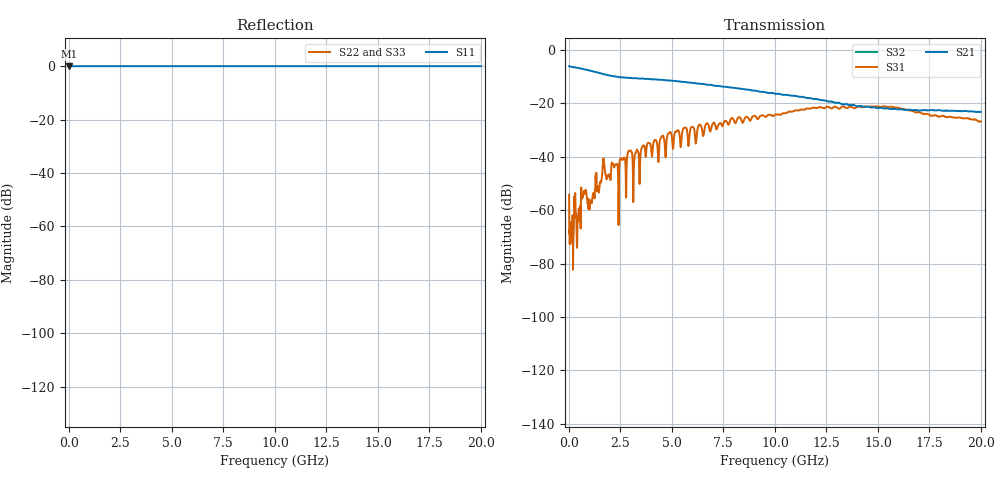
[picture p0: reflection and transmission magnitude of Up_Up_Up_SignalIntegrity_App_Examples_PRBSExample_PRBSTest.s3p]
! File created by SignalIntegrity v1.1.4: Signal and Power Integrity Tools
! https://github.com/TeledyneLeCroy/SignalIntegrity
# MHz MA S R 50.0
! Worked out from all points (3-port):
!   2000 points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, 10 MHz to 20 GHz, reference 50 ohm
!   strongest paths, dB at 10 MHz, 5.01 GHz, 10.01 GHz, 15.01 GHz, 20 GHz:
!     S21: -6.0, -11.5, -16.4, -21.8, -23.2
!     S31: -54.1, -33.4, -24.2, -21.1, -26.8
!     S32: -, -, -, -, -
!   lowest |S11| = 0.0 dB at 10 MHz (marker M1)
!   |S11| at or under -10 dB: nowhere
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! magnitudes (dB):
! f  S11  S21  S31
! 10 MHz  0.0  -6.0  -54.1
! 140 MHz  0.0  -6.3  -69.5
! 690 MHz  0.0  -7.1  -54.0
! 1.03 GHz  0.0  -7.7  -56.8
! 1.68 GHz  0.0  -9.0  -40.5
! 2.95 GHz  0.0  -10.4  -37.8
! 3.17 GHz  0.0  -10.5  -41.3
! 4.88 GHz  0.0  -11.4  -30.9
! 10.01 GHz  0.0  -16.4  -24.2
! 20 GHz  0.0  -23.2  -26.8
